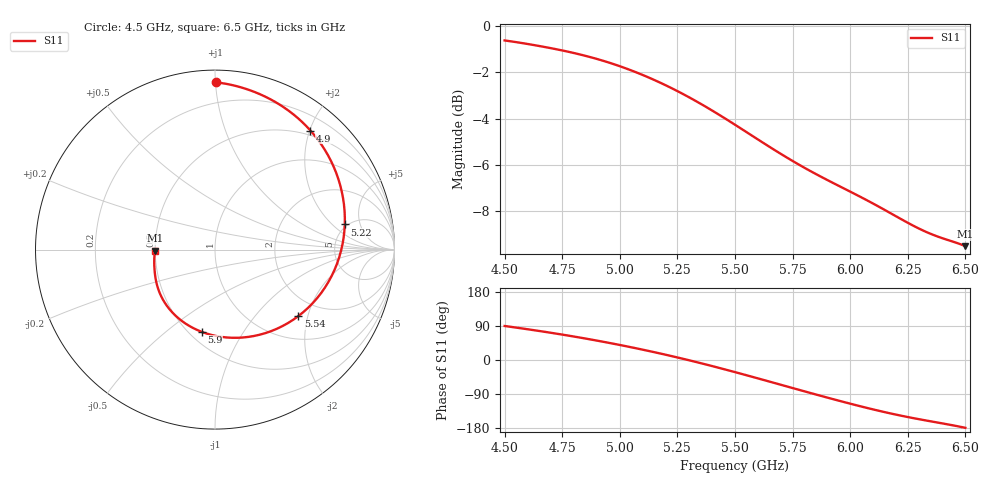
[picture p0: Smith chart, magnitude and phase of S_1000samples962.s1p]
! TOUCHSTONE file generated by CST MICROWAVE STUDIO
! Date and time: Sat Oct 29 22:36:14 2022
! Project name: L.cst
! Parameters = {Di=1.27; Epsilon_r=1.56; InnerDiameter=1.27; Length=2; Lf=10; Lg=60; OuterConductorThickness=0.2921; OuterDiameter=3.6; Wf=3; Wp=41.2; de=1.5; df=6.8; g=0.8; gx=4.77942; gy=3.17534; h=2.34; hf=1.524; px=14.636; py=8.63775; w=9.7; wx=9.85662; wy=5.46241}
! Header version: 2018
! Port assignment regex: !\s*Touchstone port\s*([0-9]+)\s*=\s*(CST MWS port|CST DS port)\s*([0-9]+|Zmin|Zmax)\s*\(\"(.*)\"\)(\s*mode\s*([0-9]+))?.*
! Touchstone port assignment:
! Touchstone port 1 = CST MWS port 1 ("")
# GHz S DB R 50
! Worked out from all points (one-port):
!   101 points, 4.5 GHz to 6.5 GHz, reference 50 ohm
!   lowest |S11| = -9.5 dB at 6.5 GHz (marker M1), VSWR 2.00, Z = 25 - j0.337 ohm
!   |S11| at or under -10 dB: nowhere
!   S11 on the Smith chart (normalised r, x): 4.5 GHz: 0.07, +1.00; 4.9 GHz: 0.42, +2.01; 5.22 GHz: 4.75, +2.91; 5.54 GHz: 1.53, -1.75; 5.9 GHz: 0.58, -0.67; 6.5 GHz: 0.50, -0.01
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4.5  -0.61 89.8
4.58  -0.73 82.9
4.64  -0.83 77.5
4.76  -1.06 66.0
4.84  -1.25 57.8
4.9  -1.41 51.3
5  -1.73 39.7
5.06  -1.95 32.3
5.12  -2.20 24.6
5.22  -2.66 11.0
5.26  -2.86 5.2
5.32  -3.18 -3.6
5.38  -3.53 -12.8
5.44  -3.89 -22.3
5.5  -4.27 -32.0
5.54  -4.52 -38.6
5.64  -5.17 -55.4
5.7  -5.54 -65.5
5.76  -5.90 -75.7
5.82  -6.24 -85.8
5.9  -6.66 -99.1
6  -7.17 -115.2
6.06  -7.48 -124.5
6.12  -7.80 -133.3
6.18  -8.14 -141.6
6.26  -8.58 -151.7
6.38  -9.12 -165.1
6.5  -9.54 -179.0
